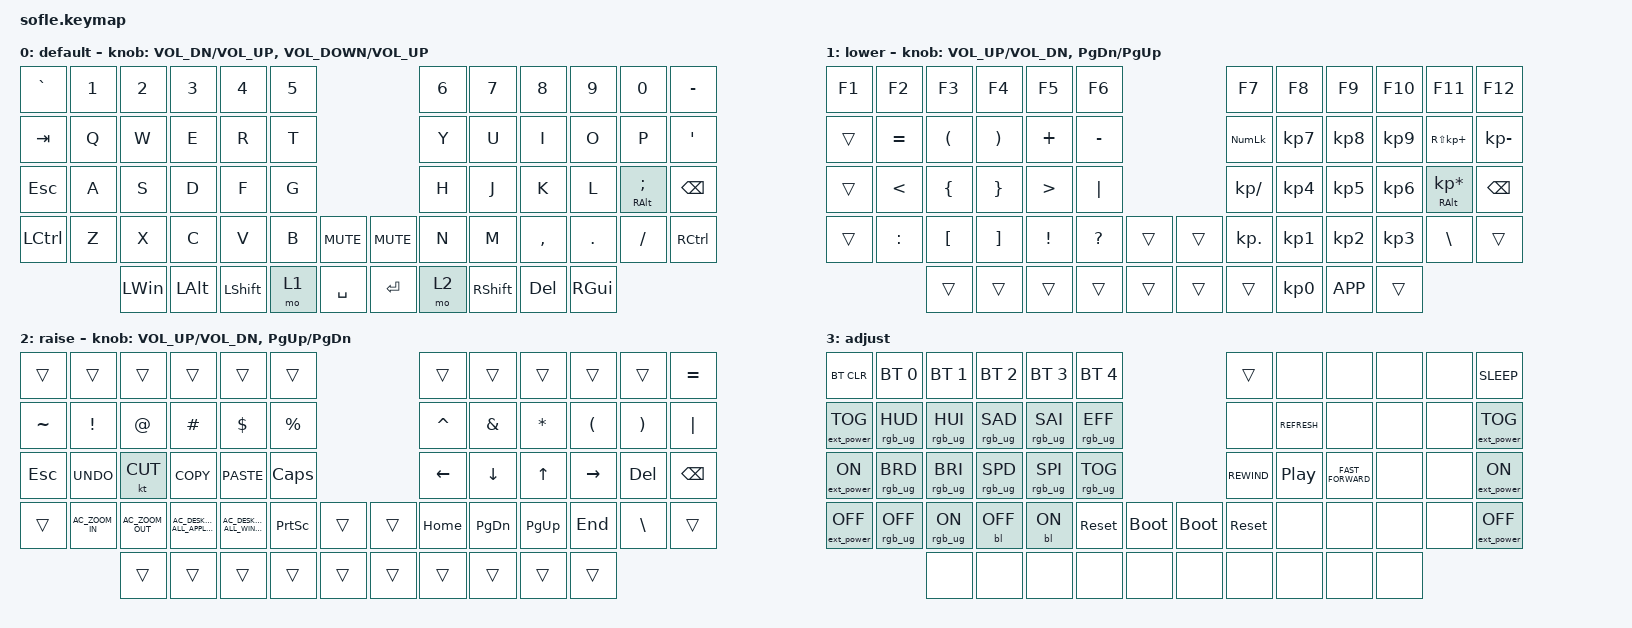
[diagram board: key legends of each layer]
/*
 * Copyright (c) 2020 The ZMK Contributors
 *
 * SPDX-License-Identifier: MIT
 */

#include <behaviors.dtsi>
#include <dt-bindings/zmk/backlight.h>
#include <dt-bindings/zmk/bt.h>
#include <dt-bindings/zmk/ext_power.h>
#include <dt-bindings/zmk/keys.h>
#include <dt-bindings/zmk/rgb.h>

#define BASE 0
#define LOWER 1
#define RAISE 2
#define ADJUST 3

/ {
    // Activate ADJUST layer by pressing raise and lower

    conditional_layers {
        compatible = "zmk,conditional-layers";

        adjust_layer {
            if-layers = <1 2>;
            then-layer = <3>;
        };
    };

    keymap {
        compatible = "zmk,keymap";

        default_layer {
            display-name = "default";

            // ------------------------------------------------------------------------------------------------------------
            // |   `   |  1  |  2  |  3   |  4   |  5   |                   |  6   |  7    |  8    |  9   |   0   |       |
            // |  ESC  |  Q  |  W  |  E   |  R   |  T   |                   |  Y   |  U    |  I    |  O   |   P   | BKSPC |
            // |  TAB  |  A  |  S  |  D   |  F   |  G   |                   |  H   |  J    |  K    |  L   |   ;   |   '   |
            // | SHIFT |  Z  |  X  |  C   |  V   |  B   |  MUTE  |  |       |  N   |  M    |  ,    |  .   |   /   | SHIFT |
            //               | GUI | ALT  | CTRL | LOWER|  ENTER |  | SPACE | RAISE| CTRL  | ALT   | GUI  |

            bindings = <
&kp GRAVE         &kp N1  &kp N2        &kp N3    &kp N4          &kp N5                            &kp N6  &kp N7           &kp N8     &kp N9    &kp N0                   &kp MINUS
&kp TAB           &kp Q   &kp W         &kp E     &kp R           &kp T                             &kp Y   &kp U            &kp I      &kp O     &kp P                    &kp SQT
&kp ESC           &kp A   &kp S         &kp D     &kp F           &kp G                             &kp H   &kp J            &kp K      &kp L     &mt RIGHT_ALT SEMICOLON  &kp BACKSPACE
&kp LEFT_CONTROL  &kp Z   &kp X         &kp C     &kp V           &kp B   &kp C_MUTE    &kp C_MUTE  &kp N   &kp M            &kp COMMA  &kp DOT   &kp FSLH                 &kp RIGHT_CONTROL
                          &kp LEFT_WIN  &kp LALT  &kp LEFT_SHIFT  &mo 1   &kp SPACE     &kp ENTER   &mo 2   &kp RIGHT_SHIFT  &kp DEL    &kp RGUI
            >;

            sensor-bindings =
                <&inc_dec_kp C_VOL_DN C_VOL_UP>,
                <&inc_dec_kp C_VOLUME_DOWN C_VOL_UP>;
        };

        lower_layer {
            display-name = "lower";

            // TODO: Some binds are waiting for shifted keycode support.
            // ------------------------------------------------------------------------------------------------------------
            // |       |  F1 |  F2 |  F3  |  F4  |  F5  |                   |  F6  |  F7   |  F8   |  F9  |  F10  |  F11  |
            // |   `   |  1  |  2  |  3   |  4   |  5   |                   |  6   |  7    |  8    |  9   |   0   |  F12  |
            // |       |  !  |  @  |  #   |  $   |  %   |                   |  ^   |  &    |  *    |  (   |   )   |   |   |
            // |       |  =  |  -  |  +   |  {   |  }   |        |  |       |  [   |  ]    |  ;    |  :   |   \   |       |
            //               |     |      |      |      |        |  |       |      |       |       |      |

            bindings = <
&kp F1  &kp F2     &kp F3                &kp F4                 &kp F5            &kp F6                          &kp F7          &kp F8           &kp F9           &kp F10          &kp F11               &kp F12
&trans  &kp EQUAL  &kp LEFT_PARENTHESIS  &kp RIGHT_PARENTHESIS  &kp PLUS          &kp MINUS                       &kp KP_NUMLOCK  &kp KP_NUMBER_7  &kp KP_NUMBER_8  &kp KP_NUMBER_9  &kp RS(KP_PLUS)       &kp KP_MINUS
&trans  &kp LT     &kp LEFT_BRACE        &kp RIGHT_BRACE        &kp GREATER_THAN  &kp PIPE                        &kp KP_DIVIDE   &kp KP_NUMBER_4  &kp KP_NUMBER_5  &kp KP_NUMBER_6  &mt RALT KP_MULTIPLY  &kp BACKSPACE
&trans  &kp COLON  &kp LEFT_BRACKET      &kp RIGHT_BRACKET      &kp EXCLAMATION   &kp QUESTION  &trans    &trans  &kp KP_DOT      &kp KP_NUMBER_1  &kp KP_NUMBER_2  &kp KP_NUMBER_3  &kp BACKSLASH         &trans
                   &trans                &trans                 &trans            &trans        &trans    &trans  &trans          &kp KP_NUMBER_0  &kp K_APP        &trans
            >;

            sensor-bindings =
                <&inc_dec_kp C_VOL_UP C_VOL_DN>,
                <&inc_dec_kp PAGE_DOWN PAGE_UP>;
        };

        raise_layer {
            display-name = "raise";

            // ------------------------------------------------------------------------------------------------------------
            // | BTCLR | BT1  | BT2  |  BT3  |  BT4  |  BT5 |                |      |      |       |      |       |       |
            // |       | INS  | PSCR | GUI   |       |      |                | PGUP |      |   ^   |      |       |       |
            // |       | ALT  | CTRL | SHIFT |       | CAPS |                | PGDN |   <- |   v   |  ->  |  DEL  | BKSPC |
            // |       | UNDO | CUT  | COPY  | PASTE |      |      |  |      |      |      |       |      |       |       |
            //                |      |       |       |      |      |  |      |      |      |       |      |

            bindings = <
&trans     &trans            &trans             &trans                                  &trans                             &trans                             &trans          &trans          &trans        &trans                &trans                 &kp EQUAL
&kp TILDE  &kp EXCLAMATION   &kp AT_SIGN        &kp POUND                               &kp DOLLAR                         &kp PERCENT                        &kp CARET       &kp AMPERSAND   &kp STAR      &kp LEFT_PARENTHESIS  &kp RIGHT_PARENTHESIS  &kp PIPE
&kp ESC    &kp K_UNDO        &kt K_CUT          &kp K_COPY                              &kp K_PASTE                        &kp CLCK                           &kp LEFT_ARROW  &kp DOWN_ARROW  &kp UP_ARROW  &kp RIGHT_ARROW       &kp DELETE             &kp BSPC
&trans     &kp C_AC_ZOOM_IN  &kp C_AC_ZOOM_OUT  &kp C_AC_DESKTOP_SHOW_ALL_APPLICATIONS  &kp C_AC_DESKTOP_SHOW_ALL_WINDOWS  &kp PRINTSCREEN  &trans    &trans  &kp HOME        &kp PAGE_DOWN   &kp PAGE_UP   &kp END               &kp BACKSLASH          &trans
                             &trans             &trans                                  &trans                             &trans           &trans    &trans  &trans          &trans          &trans        &trans
            >;

            sensor-bindings = <&inc_dec_kp C_VOL_UP C_VOL_DN &inc_dec_kp PG_UP PG_DN>;
        };

        adjust_layer {
            // ----------------------------------------------------------------------------------------------------------------------------
            // | BTCLR  |  BT1    |  BT2    |   BT3   |   BT4   |   BT5   |                  |      |      |       |      |       |       |
            // | EXTPWR | RGB_HUD | RGB_HUI | RGB_SAD | RGB_SAI | RGB_EFF |                  |      |      |       |      |       |       |
            // |        | RGB_BRD | RGB_BRI |         |         |         |                  |      |      |       |      |       |       |
            // |        |         |         |         |         |         | RGB_TOG | |      |      |      |       |      |       |       |
            //                    |         |         |         |         |         | |      |      |      |       |      |

            display-name = "adjust";
            bindings = <
&bt BT_CLR         &bt BT_SEL 0     &bt BT_SEL 1     &bt BT_SEL 2     &bt BT_SEL 3     &bt BT_SEL 4                                 &trans        &none             &none               &none  &none  &kp C_SLEEP
&ext_power EP_TOG  &rgb_ug RGB_HUD  &rgb_ug RGB_HUI  &rgb_ug RGB_SAD  &rgb_ug RGB_SAI  &rgb_ug RGB_EFF                              &none         &kp K_REFRESH     &none               &none  &none  &ext_power EP_TOG
&ext_power EP_ON   &rgb_ug RGB_BRD  &rgb_ug RGB_BRI  &rgb_ug RGB_SPD  &rgb_ug RGB_SPI  &rgb_ug RGB_TOG                              &kp C_REWIND  &kp C_PLAY_PAUSE  &kp C_FAST_FORWARD  &none  &none  &ext_power EP_ON
&ext_power EP_OFF  &rgb_ug RGB_OFF  &rgb_ug RGB_ON   &bl BL_OFF       &bl BL_ON        &sys_reset       &bootloader    &bootloader  &sys_reset    &none             &none               &none  &none  &ext_power EP_OFF
                                    &none            &none            &none            &none            &none          &none        &none         &none             &none               &none
            >;
        };
    };
};
